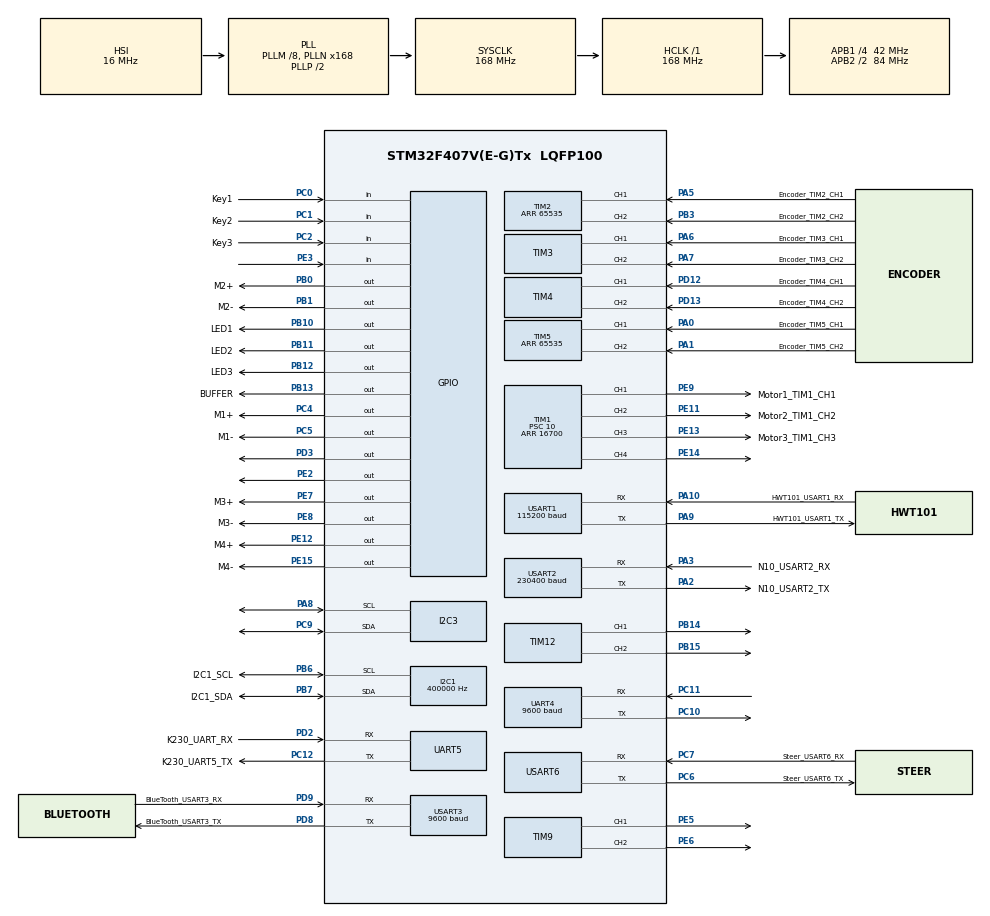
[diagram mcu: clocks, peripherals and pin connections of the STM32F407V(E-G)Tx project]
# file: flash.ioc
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Dma.Request0=USART1_RX
Dma.Request1=UART5_RX
Dma.Request2=UART4_RX
Dma.Request3=USART2_RX
Dma.UART4_RX.2.Direction=DMA_PERIPH_TO_MEMORY
Dma.UART4_RX.2.FIFOMode=DMA_FIFOMODE_DISABLE
Dma.UART4_RX.2.Instance=DMA1_Stream2
Dma.UART4_RX.2.MemDataAlignment=DMA_MDATAALIGN_BYTE
Dma.UART4_RX.2.MemInc=DMA_MINC_ENABLE
Dma.UART4_RX.2.Mode=DMA_CIRCULAR
Dma.UART4_RX.2.PeriphDataAlignment=DMA_PDATAALIGN_BYTE
Dma.UART4_RX.2.PeriphInc=DMA_PINC_DISABLE
Dma.UART4_RX.2.Priority=DMA_PRIORITY_LOW
Dma.UART5_RX.1.Direction=DMA_PERIPH_TO_MEMORY
Dma.UART5_RX.1.FIFOMode=DMA_FIFOMODE_DISABLE
Dma.UART5_RX.1.Instance=DMA1_Stream0
Dma.UART5_RX.1.MemDataAlignment=DMA_MDATAALIGN_BYTE
Dma.UART5_RX.1.MemInc=DMA_MINC_ENABLE
Dma.UART5_RX.1.Mode=DMA_CIRCULAR
Dma.UART5_RX.1.PeriphDataAlignment=DMA_PDATAALIGN_BYTE
Dma.UART5_RX.1.PeriphInc=DMA_PINC_DISABLE
Dma.UART5_RX.1.Priority=DMA_PRIORITY_MEDIUM
Dma.USART1_RX.0.Direction=DMA_PERIPH_TO_MEMORY
Dma.USART1_RX.0.FIFOMode=DMA_FIFOMODE_DISABLE
Dma.USART1_RX.0.Instance=DMA2_Stream2
Dma.USART1_RX.0.MemDataAlignment=DMA_MDATAALIGN_BYTE
Dma.USART1_RX.0.MemInc=DMA_MINC_ENABLE
Dma.USART1_RX.0.Mode=DMA_CIRCULAR
Dma.USART1_RX.0.PeriphDataAlignment=DMA_PDATAALIGN_BYTE
Dma.USART1_RX.0.PeriphInc=DMA_PINC_DISABLE
Dma.USART1_RX.0.Priority=DMA_PRIORITY_MEDIUM
Dma.USART2_RX.3.Direction=DMA_PERIPH_TO_MEMORY
Dma.USART2_RX.3.FIFOMode=DMA_FIFOMODE_DISABLE
Dma.USART2_RX.3.Instance=DMA1_Stream5
Dma.USART2_RX.3.MemDataAlignment=DMA_MDATAALIGN_BYTE
Dma.USART2_RX.3.MemInc=DMA_MINC_ENABLE
Dma.USART2_RX.3.Mode=DMA_CIRCULAR
Dma.USART2_RX.3.PeriphDataAlignment=DMA_PDATAALIGN_BYTE
Dma.USART2_RX.3.PeriphInc=DMA_PINC_DISABLE
Dma.USART2_RX.3.Priority=DMA_PRIORITY_MEDIUM
FREERTOS.Tasks01=defaultTask,24,128,StartDefaultTask,Default,NULL,Dynamic,NULL,NULL;Task1,48,256,InitTask,Default,NULL,Dynamic,NULL,NULL;Task2,41,256,MsgTaskHight,Default,NULL,Dynamic,NULL,NULL;Task3,40,256,MsgTaskLow,Default,NULL,Dynamic,NULL,NULL;Task0,40,256,DispTask,Default,NULL,Dynamic,NULL,NULL;Task4,8,256,CtrlTask,Default,NULL,Dynamic,NULL,NULL;Task5,40,256,ScanTask,Default,NULL,Dynamic,NULL,NULL;Task6,8,128,TestTask,Default,NULL,Dynamic,NULL,NULL
I2C1.ClockSpeed=400000
I2C1.I2C_Mode=I2C_Fast
Mcu.Family=STM32F4
Mcu.Name=STM32F407V(E-G)Tx
Mcu.Package=LQFP100
NVIC.DMA1_Stream0_IRQn=true\:5\:0\:false\:false\:true\:true\:false\:true\:true
NVIC.DMA1_Stream2_IRQn=true\:5\:0\:false\:false\:true\:true\:false\:true\:true
NVIC.DMA1_Stream5_IRQn=true\:5\:0\:false\:false\:true\:true\:false\:true\:true
NVIC.DMA2_Stream2_IRQn=true\:5\:0\:false\:false\:true\:true\:false\:true\:true
NVIC.PriorityGroup=NVIC_PRIORITYGROUP_4
NVIC.TIM6_DAC_IRQn=true\:15\:0\:false\:false\:true\:false\:false\:true\:true
NVIC.TIM8_BRK_TIM12_IRQn=true\:5\:0\:false\:false\:true\:false\:false\:true\:true
NVIC.TimeBase=TIM6_DAC_IRQn
NVIC.TimeBaseIP=TIM6
NVIC.UART4_IRQn=true\:5\:0\:false\:false\:true\:true\:true\:true\:true
NVIC.UART5_IRQn=true\:5\:0\:false\:false\:true\:true\:true\:true\:true
NVIC.USART1_IRQn=true\:5\:0\:false\:false\:true\:true\:true\:true\:true
NVIC.USART2_IRQn=true\:5\:0\:true\:false\:true\:true\:true\:true\:true
NVIC.USART3_IRQn=true\:5\:0\:true\:false\:true\:true\:true\:true\:true
PA0-WKUP.GPIO_Label=Encoder_TIM5_CH1
PA0-WKUP.Signal=S_TIM5_CH1
PA1.GPIO_Label=Encoder_TIM5_CH2
PA1.Signal=S_TIM5_CH2
PA10.GPIO_Label=HWT101_USART1_RX
PA10.Mode=Asynchronous
PA10.Signal=USART1_RX
PA13.Mode=Serial_Wire
PA13.Signal=SYS_JTMS-SWDIO
PA14.Mode=Serial_Wire
PA14.Signal=SYS_JTCK-SWCLK
PA2.GPIO_Label=N10_USART2_TX
PA2.Mode=Asynchronous
PA2.Signal=USART2_TX
PA3.GPIO_Label=N10_USART2_RX
PA3.Mode=Asynchronous
PA3.Signal=USART2_RX
PA5.GPIO_Label=Encoder_TIM2_CH1
PA5.Signal=S_TIM2_CH1_ETR
PA6.GPIO_Label=Encoder_TIM3_CH1
PA6.Signal=S_TIM3_CH1
PA7.GPIO_Label=Encoder_TIM3_CH2
PA7.Signal=S_TIM3_CH2
PA8.Mode=I2C
PA8.Signal=I2C3_SCL
PA9.GPIO_Label=HWT101_USART1_TX
PA9.Mode=Asynchronous
PA9.Signal=USART1_TX
PB0.GPIO_Label=M2+
PB0.GPIO_PuPd=GPIO_PULLDOWN
PB0.Signal=GPIO_Output
PB1.GPIO_Label=M2-
PB1.GPIO_PuPd=GPIO_PULLDOWN
PB1.Signal=GPIO_Output
PB10.GPIO_Label=LED1
PB10.Signal=GPIO_Output
PB11.GPIO_Label=LED2
PB11.Signal=GPIO_Output
PB12.GPIO_Label=LED3
PB12.Signal=GPIO_Output
PB13.GPIO_Label=BUFFER
PB13.Signal=GPIO_Output
PB14.Signal=S_TIM12_CH1
PB15.Signal=S_TIM12_CH2
PB3.GPIO_Label=Encoder_TIM2_CH2
PB3.Signal=S_TIM2_CH2
PB6.GPIO_Label=I2C1_SCL
PB6.Mode=I2C
PB6.Signal=I2C1_SCL
PB7.GPIO_Label=I2C1_SDA
PB7.Mode=I2C
PB7.Signal=I2C1_SDA
PC0.GPIO_Label=Key1
PC0.GPIO_PuPd=GPIO_PULLUP
PC0.Signal=GPIO_Input
PC1.GPIO_Label=Key2
PC1.GPIO_PuPd=GPIO_PULLUP
PC1.Signal=GPIO_Input
PC10.Mode=Asynchronous
PC10.Signal=UART4_TX
PC11.Mode=Asynchronous
PC11.Signal=UART4_RX
PC12.GPIO_Label=K230_UART5_TX
PC12.Mode=Asynchronous
PC12.Signal=UART5_TX
PC2.GPIO_Label=Key3
PC2.GPIO_PuPd=GPIO_PULLUP
PC2.Signal=GPIO_Input
PC4.GPIO_Label=M1+
PC4.GPIO_PuPd=GPIO_PULLDOWN
PC4.Signal=GPIO_Output
PC5.GPIO_Label=M1-
PC5.GPIO_PuPd=GPIO_PULLDOWN
PC5.Signal=GPIO_Output
PC6.GPIO_Label=Steer_USART6_TX
PC6.Mode=Asynchronous
PC6.Signal=USART6_TX
PC7.GPIO_Label=Steer_USART6_RX
PC7.Mode=Asynchronous
PC7.Signal=USART6_RX
PC9.Mode=I2C
PC9.Signal=I2C3_SDA
PD12.GPIO_Label=Encoder_TIM4_CH1
PD12.Signal=S_TIM4_CH1
PD13.GPIO_Label=Encoder_TIM4_CH2
PD13.Signal=S_TIM4_CH2
PD2.GPIO_Label=K230_UART_RX
PD2.Mode=Asynchronous
PD2.Signal=UART5_RX
PD3.Signal=GPIO_Output
PD8.GPIO_Label=BlueTooth_USART3_TX
PD8.Mode=Asynchronous
PD8.Signal=USART3_TX
PD9.GPIO_Label=BlueTooth_USART3_RX
PD9.Mode=Asynchronous
PD9.Signal=USART3_RX
PE11.GPIO_Label=Motor2_TIM1_CH2
PE11.Signal=S_TIM1_CH2
PE12.GPIO_Label=M4+
PE12.Signal=GPIO_Output
PE13.GPIO_Label=Motor3_TIM1_CH3
PE13.Signal=S_TIM1_CH3
PE14.Signal=S_TIM1_CH4
PE15.GPIO_Label=M4-
PE15.Signal=GPIO_Output
PE2.Signal=GPIO_Output
PE3.Signal=GPIO_Input
PE5.Signal=S_TIM9_CH1
PE6.Signal=S_TIM9_CH2
PE7.GPIO_Label=M3+
PE7.Signal=GPIO_Output
PE8.GPIO_Label=M3-
PE8.Signal=GPIO_Output
PE9.GPIO_Label=Motor1_TIM1_CH1
PE9.GPIO_PuPd=GPIO_NOPULL
PE9.GPIO_Speed=GPIO_SPEED_FREQ_LOW
PE9.Signal=S_TIM1_CH1
PH0-OSC_IN.Mode=HSE-External-Oscillator
PH0-OSC_IN.Signal=RCC_OSC_IN
PH1-OSC_OUT.Mode=HSE-External-Oscillator
PH1-OSC_OUT.Signal=RCC_OSC_OUT
ProjectManager.HeapSize=0x400
ProjectManager.StackSize=0x800
ProjectManager.TargetToolchain=MDK-ARM V5.32
RCC.48MHZClocksFreq_Value=84000000
RCC.AHBFreq_Value=168000000
RCC.APB1CLKDivider=RCC_HCLK_DIV4
RCC.APB1Freq_Value=42000000
RCC.APB1TimFreq_Value=84000000
RCC.APB2CLKDivider=RCC_HCLK_DIV2
RCC.APB2Freq_Value=84000000
RCC.APB2TimFreq_Value=168000000
RCC.CortexFreq_Value=168000000
RCC.HCLKFreq_Value=168000000
RCC.HSE_VALUE=25000000
RCC.HSI_VALUE=16000000
RCC.LSE_VALUE=32768
RCC.PLLM=8
RCC.PLLN=168
RCC.SYSCLKFreq_VALUE=168000000
RCC.SYSCLKSource=RCC_SYSCLKSOURCE_PLLCLK
RCC.VCOOutputFreq_Value=336000000
SH.S_TIM12_CH1.0=TIM12_CH1,PWM Generation1 CH1
SH.S_TIM12_CH2.0=TIM12_CH2,PWM Generation2 CH2
SH.S_TIM1_CH1.0=TIM1_CH1,PWM Generation1 CH1
SH.S_TIM1_CH2.0=TIM1_CH2,PWM Generation2 CH2
SH.S_TIM1_CH3.0=TIM1_CH3,PWM Generation3 CH3
SH.S_TIM1_CH4.0=TIM1_CH4,PWM Generation4 CH4
SH.S_TIM2_CH1_ETR.0=TIM2_CH1,Encoder_Interface
SH.S_TIM2_CH2.0=TIM2_CH2,Encoder_Interface
SH.S_TIM3_CH1.0=TIM3_CH1,Encoder_Interface
SH.S_TIM3_CH2.0=TIM3_CH2,Encoder_Interface
SH.S_TIM4_CH1.0=TIM4_CH1,Encoder_Interface
SH.S_TIM4_CH2.0=TIM4_CH2,Encoder_Interface
SH.S_TIM5_CH1.0=TIM5_CH1,Encoder_Interface
SH.S_TIM5_CH2.0=TIM5_CH2,Encoder_Interface
SH.S_TIM9_CH1.0=TIM9_CH1,PWM Generation1 CH1
SH.S_TIM9_CH2.0=TIM9_CH2,PWM Generation2 CH2
TIM1.Channel-PWM\ Generation1\ CH1=TIM_CHANNEL_1
TIM1.Channel-PWM\ Generation2\ CH2=TIM_CHANNEL_2
TIM1.Channel-PWM\ Generation3\ CH3=TIM_CHANNEL_3
TIM1.Channel-PWM\ Generation4\ CH4=TIM_CHANNEL_4
TIM1.Period=16700
TIM1.Prescaler=10
TIM12.Channel-PWM\ Generation1\ CH1=TIM_CHANNEL_1
TIM12.Channel-PWM\ Generation2\ CH2=TIM_CHANNEL_2
TIM2.EncoderMode=TIM_ENCODERMODE_TI12
TIM2.IC1Filter=4
TIM2.Period=65535
TIM3.EncoderMode=TIM_ENCODERMODE_TI12
TIM3.IC1Filter=4
TIM4.EncoderMode=TIM_ENCODERMODE_TI12
TIM4.IC1Filter=4
TIM5.EncoderMode=TIM_ENCODERMODE_TI12
TIM5.IC1Filter=4
TIM5.Period=65535
TIM7.Period=65535
TIM7.Prescaler=168-1
TIM9.Channel-PWM\ Generation1\ CH1=TIM_CHANNEL_1
TIM9.Channel-PWM\ Generation2\ CH2=TIM_CHANNEL_2
UART4.BaudRate=9600
UART4.VirtualMode=Asynchronous
UART5.VirtualMode=Asynchronous
USART1.BaudRate=115200
USART1.VirtualMode=VM_ASYNC
USART2.BaudRate=230400
USART2.VirtualMode=VM_ASYNC
USART3.BaudRate=9600
USART3.VirtualMode=VM_ASYNC
USART6.VirtualMode=VM_ASYNC
VP_FREERTOS_VS_CMSIS_V2.Mode=CMSIS_V2
VP_SYS_VS_tim6.Mode=TIM6
VP_TIM1_VS_ClockSourceINT.Mode=Internal
VP_TIM7_VS_ClockSourceINT.Mode=Enable_Timer
VP_TIM8_VS_ClockSourceINT.Mode=Internal
VP_TIM9_VS_ClockSourceINT.Mode=Internal
board=custom

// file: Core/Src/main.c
/* USER CODE BEGIN Header */
/**
  ******************************************************************************
  * @file           : main.c
  * @brief          : Main program body
  ******************************************************************************
  * @attention
  *
  * Copyright (c) 2025 STMicroelectronics.
  * All rights reserved.
  *
  * This software is licensed under terms that can be found in the LICENSE file
  * in the root directory of this software component.
  * If no LICENSE file comes with this software, it is provided AS-IS.
  *
  ******************************************************************************
  */
/* USER CODE END Header */
#include "main.h"
#include "cmsis_os.h"
#include "dma.h"
#include "i2c.h"
#include "tim.h"
#include "usart.h"
#include "gpio.h"

/* USER CODE BEGIN Includes */
#include "MySys.h"
extern MyUartGroup uartGroup;
/* USER CODE END Includes */

void SystemClock_Config(void);
void MX_FREERTOS_Init(void);

int main(void)
{

  /* MCU Configuration--------------------------------------------------------*/

  /* Reset of all peripherals, Initializes the Flash interface and the Systick. */
  HAL_Init();

  /* Configure the system clock */
  SystemClock_Config();

  /* Initialize all configured peripherals */
  MX_GPIO_Init();
  MX_DMA_Init();
  MX_I2C1_Init();
  MX_TIM1_Init();
  MX_TIM2_Init();
  MX_TIM3_Init();
  MX_TIM4_Init();
  MX_TIM5_Init();
  MX_TIM8_Init();
  MX_UART5_Init();
  MX_USART1_UART_Init();
  MX_USART2_UART_Init();
  MX_USART3_UART_Init();
  MX_USART6_UART_Init();
  MX_TIM7_Init();
  MX_I2C3_Init();
  MX_TIM12_Init();
  MX_TIM9_Init();
  MX_UART4_Init();

  /* Init scheduler */
  osKernelInitialize();

  /* Call init function for freertos objects (in cmsis_os2.c) */
  MX_FREERTOS_Init();

  /* Start scheduler */
  osKernelStart();

  /* We should never get here as control is now taken by the scheduler */

  /* Infinite loop */
  while (1)
  {

  }
}

void SystemClock_Config(void)
{
  RCC_OscInitTypeDef RCC_OscInitStruct = {0};
  RCC_ClkInitTypeDef RCC_ClkInitStruct = {0};

  /** Configure the main internal regulator output voltage
  */
  __HAL_RCC_PWR_CLK_ENABLE();
  __HAL_PWR_VOLTAGESCALING_CONFIG(PWR_REGULATOR_VOLTAGE_SCALE1);

  /** Initializes the RCC Oscillators according to the specified parameters
  * in the RCC_OscInitTypeDef structure.
  */
  RCC_OscInitStruct.OscillatorType = RCC_OSCILLATORTYPE_HSI;
  RCC_OscInitStruct.HSIState = RCC_HSI_ON;
  RCC_OscInitStruct.HSICalibrationValue = RCC_HSICALIBRATION_DEFAULT;
  RCC_OscInitStruct.PLL.PLLState = RCC_PLL_ON;
  RCC_OscInitStruct.PLL.PLLSource = RCC_PLLSOURCE_HSI;
  RCC_OscInitStruct.PLL.PLLM = 8;
  RCC_OscInitStruct.PLL.PLLN = 168;
  RCC_OscInitStruct.PLL.PLLP = RCC_PLLP_DIV2;
  RCC_OscInitStruct.PLL.PLLQ = 4;
  if (HAL_RCC_OscConfig(&RCC_OscInitStruct) != HAL_OK)
  {
    Error_Handler();
  }

  /** Initializes the CPU, AHB and APB buses clocks
  */
  RCC_ClkInitStruct.ClockType = RCC_CLOCKTYPE_HCLK|RCC_CLOCKTYPE_SYSCLK
                              |RCC_CLOCKTYPE_PCLK1|RCC_CLOCKTYPE_PCLK2;
  RCC_ClkInitStruct.SYSCLKSource = RCC_SYSCLKSOURCE_PLLCLK;
  RCC_ClkInitStruct.AHBCLKDivider = RCC_SYSCLK_DIV1;
  RCC_ClkInitStruct.APB1CLKDivider = RCC_HCLK_DIV4;
  RCC_ClkInitStruct.APB2CLKDivider = RCC_HCLK_DIV2;

  if (HAL_RCC_ClockConfig(&RCC_ClkInitStruct, FLASH_LATENCY_5) != HAL_OK)
  {
    Error_Handler();
  }
}

/* USER CODE BEGIN 4 */
// void HAL_UARTEx_RxEventCallback(UART_HandleTypeDef *huart, uint16_t Size)
// {

// }
void HAL_UART_RxCpltCallback(UART_HandleTypeDef *huart)//中断回调函数
{
    if(huart == &huart3)
    {
        HAL_UART_Receive_IT(&huart3, &uartGroup.blue.data, 1);
    }
}
int fputc(int c,FILE *f)//串口重定�??
{
    HAL_UART_Transmit(&huart6,(uint8_t *)&c,1,1000);
    return c;
}
/* USER CODE END 4 */

void HAL_TIM_PeriodElapsedCallback(TIM_HandleTypeDef *htim)
{
  if (htim->Instance == TIM6) {
    HAL_IncTick();
  }
}

void Error_Handler(void)
{
  __disable_irq();
  while (1)
  {
  }
}

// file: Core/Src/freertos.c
/* USER CODE BEGIN Header */
/**
  ******************************************************************************
  * File Name          : freertos.c
  * Description        : Code for freertos applications
  ******************************************************************************
  * @attention
  *
  * Copyright (c) 2025 STMicroelectronics.
  * All rights reserved.
  *
  * This software is licensed under terms that can be found in the LICENSE file
  * in the root directory of this software component.
  * If no LICENSE file comes with this software, it is provided AS-IS.
  *
  ******************************************************************************
  */
/* USER CODE END Header */

#include "FreeRTOS.h"
#include "task.h"
#include "main.h"
#include "cmsis_os.h"

/* USER CODE BEGIN Includes */
#include "MySys.h"
#include "dma.h"
#include "i2c.h"
#include "tim.h"
#include "usart.h"
#include "gpio.h"
/* USER CODE END Includes */

/* USER CODE BEGIN PD */
#define HITMODE 1 //1��ģʽ 0С��ģʽ
extern Key Key1,Key2,Key3,Key_GW;//按键结构�????????????????
extern Motor MOTOR_A,MOTOR_B,MOTOR_C,MOTOR_D;//电机速度控制相关变量
extern MyUartGroup uartGroup;//UART组结构体
extern Encoder OriginalEncoder;//编码器结构体
extern DisStp STP;
extern coordinate aim;
extern int L1scan;
extern int oil;
extern int Lost;
int smoothflag=0;
/* USER CODE END PD */

/* Definitions for defaultTask */
osThreadId_t defaultTaskHandle;
const osThreadAttr_t defaultTask_attributes = {
  .name = "defaultTask",
  .stack_size = 128 * 4,
  .priority = (osPriority_t) osPriorityNormal,
};
/* Definitions for Task1 */
osThreadId_t Task1Handle;
const osThreadAttr_t Task1_attributes = {
  .name = "Task1",
  .stack_size = 256 * 4,
  .priority = (osPriority_t) osPriorityRealtime,
};
/* Definitions for Task2 */
osThreadId_t Task2Handle;
const osThreadAttr_t Task2_attributes = {
  .name = "Task2",
  .stack_size = 256 * 4,
  .priority = (osPriority_t) osPriorityHigh1,
};
/* Definitions for Task3 */
osThreadId_t Task3Handle;
const osThreadAttr_t Task3_attributes = {
  .name = "Task3",
  .stack_size = 256 * 4,
  .priority = (osPriority_t) osPriorityHigh,
};
/* Definitions for Task0 */
osThreadId_t Task0Handle;
const osThreadAttr_t Task0_attributes = {
  .name = "Task0",
  .stack_size = 256 * 4,
  .priority = (osPriority_t) osPriorityHigh,
};
/* Definitions for Task4 */
osThreadId_t Task4Handle;
const osThreadAttr_t Task4_attributes = {
  .name = "Task4",
  .stack_size = 256 * 4,
  .priority = (osPriority_t) osPriorityLow,
};
/* Definitions for Task5 */
osThreadId_t Task5Handle;
const osThreadAttr_t Task5_attributes = {
  .name = "Task5",
  .stack_size = 256 * 4,
  .priority = (osPriority_t) osPriorityHigh,
};
/* Definitions for Task6 */
osThreadId_t Task6Handle;
const osThreadAttr_t Task6_attributes = {
  .name = "Task6",
  .stack_size = 128 * 4,
  .priority = (osPriority_t) osPriorityLow,
};

void StartDefaultTask(void *argument);
void InitTask(void *argument);
void MsgTaskHight(void *argument);
void MsgTaskLow(void *argument);
void DispTask(void *argument);
void CtrlTask(void *argument);
void ScanTask(void *argument);
void TestTask(void *argument);

void MX_FREERTOS_Init(void); /* (MISRA C 2004 rule 8.1) */

void MX_FREERTOS_Init(void) {

  /* Create the thread(s) */
  /* creation of defaultTask */
  defaultTaskHandle = osThreadNew(StartDefaultTask, NULL, &defaultTask_attributes);

  /* creation of Task1 */
  Task1Handle = osThreadNew(InitTask, NULL, &Task1_attributes);

  /* creation of Task2 */
  Task2Handle = osThreadNew(MsgTaskHight, NULL, &Task2_attributes);

  /* creation of Task3 */
  Task3Handle = osThreadNew(MsgTaskLow, NULL, &Task3_attributes);

  /* creation of Task0 */
  Task0Handle = osThreadNew(DispTask, NULL, &Task0_attributes);

  /* creation of Task4 */
  Task4Handle = osThreadNew(CtrlTask, NULL, &Task4_attributes);

  /* creation of Task5 */
  Task5Handle = osThreadNew(ScanTask, NULL, &Task5_attributes);

  /* creation of Task6 */
  Task6Handle = osThreadNew(TestTask, NULL, &Task6_attributes);

}

void StartDefaultTask(void *argument)
{
  /* USER CODE BEGIN StartDefaultTask */
  /* Infinite loop */
  for(;;)
  {
    osDelay(10);
  }
  /* USER CODE END StartDefaultTask */
}

void InitTask(void *argument)
{
  /* USER CODE BEGIN InitTask */
//----------------初始化任务，执行后删�???????----------------
  // 启动PWM输出
  HAL_TIM_PWM_Start(&htim1, TIM_CHANNEL_1);
  HAL_TIM_PWM_Start(&htim1, TIM_CHANNEL_2);
  HAL_TIM_PWM_Start(&htim1, TIM_CHANNEL_3);
  HAL_TIM_PWM_Start(&htim1, TIM_CHANNEL_4);
  // 启动霍尔编码�???
  HAL_TIM_Encoder_Start(&htim2, TIM_CHANNEL_1);
  HAL_TIM_Encoder_Start(&htim2, TIM_CHANNEL_2);
  HAL_TIM_Encoder_Start(&htim3, TIM_CHANNEL_1);
  HAL_TIM_Encoder_Start(&htim3, TIM_CHANNEL_2);
  HAL_TIM_Encoder_Start(&htim4, TIM_CHANNEL_1);
  HAL_TIM_Encoder_Start(&htim4, TIM_CHANNEL_2);
  HAL_TIM_Encoder_Start(&htim5, TIM_CHANNEL_1);
  HAL_TIM_Encoder_Start(&htim5, TIM_CHANNEL_2);
  // OLED初始�???
  OLED_Init();
  // 串口组初始化
  MyUartGroup_Init(&uartGroup);
  // 编码器结构体初始�???
  MyEncoder_Init(&OriginalEncoder);
  // 电机参数初始�???
  MyMotor_Init(&MOTOR_A);
  MyMotor_Init(&MOTOR_B);
  MyMotor_Init(&MOTOR_C);
  MyMotor_Init(&MOTOR_D);
  // 舵机参数初始�???
  // MySteer_Init();
  //PID参数初始�???
  MyPid_Init();
  // 使能串口中断
  HAL_NVIC_EnableIRQ(USART1_IRQn);
  HAL_NVIC_EnableIRQ(USART3_IRQn);
  HAL_NVIC_EnableIRQ(UART4_IRQn);
  HAL_NVIC_EnableIRQ(UART5_IRQn);
  // 启动串口3中断接收
  HAL_UART_Receive_IT(&huart3, &uartGroup.blue.data, 1);
  // 启动DMA接收
  HAL_UART_Receive_DMA(&huart1, uartGroup.imu.Receive_data, uartGroup.imu.len);
  if(UART2MODE==0)
  HAL_UART_Receive_DMA(&huart2, uartGroup.scan.Receive_data, uartGroup.scan.len);
  else if(UART2MODE==1)
  HAL_UART_Receive_DMA(&huart2, uartGroup.STP.Receive_data, uartGroup.STP.len);
  if(UART5MODE==0)
  HAL_UART_Receive_DMA(&huart5, uartGroup.camera.Receive_data, uartGroup.camera.len);
  else if(UART5MODE==1)
  HAL_UART_Receive_DMA(&huart5, uartGroup.FOC.Receive_data, uartGroup.FOC.len);
  if(UART4MODE==1)
    HAL_UART_Receive_DMA(&huart4, uartGroup.DL20.Receive_data, uartGroup.DL20.buff);
  else if(UART4MODE==0)
    HAL_UART_Receive_DMA(&huart4, uartGroup.steerimu.Receive_data, uartGroup.steerimu.len);
  // 使能串口1和串�???5的空闲中�???
  __HAL_UART_ENABLE_IT(&huart1, UART_IT_IDLE);
  __HAL_UART_ENABLE_IT(&huart4, UART_IT_IDLE);
  __HAL_UART_ENABLE_IT(&huart5, UART_IT_IDLE);
  __HAL_UART_ENABLE_IT(&huart2, UART_IT_IDLE);
  // �???有初始化完成，删除本任务
  Buffer(0);
  Led(2,0);
  for(register long slow=0;slow<21474836;slow++);//缓启动，确保电压稳定
  Buffer(0);
  Led(2,0);
  vTaskDelete(NULL);
  /* USER CODE END InitTask */
}

void MsgTaskHight(void *argument)
{
  /* USER CODE BEGIN MsgTaskHight */
  /* Infinite loop */
  for(;;)
  {
    ImuPrc();
    FocPrc();
    // CameraPrc();
    osDelay(1);
  }
  /* USER CODE END MsgTaskHight */
}

void MsgTaskLow(void *argument)
{
  /* USER CODE BEGIN MsgTaskLow */
  /* Infinite loop */
  for(;;)
  {
    KeyPrc();
    BluePrc();
    // GreyPrc();
    EncoderPrc();
    // PS2Prc();
    osDelay(30);
  }
  /* USER CODE END MsgTaskLow */
}

void DispTask(void *argument)
{
  /* USER CODE BEGIN DispTask */
  /* Infinite loop */
  for(;;)
  {
    LedPrc();
    OledPrc();
    osDelay(10);
  }
  /* USER CODE END DispTask */
}

void CtrlTask(void *argument)
{
  /* USER CODE BEGIN CtrlTask */
  /* Infinite loop */
  for(;;)
  {
    PidPrc();
    MotorCtrl();
    // SteerCtrl();
    osDelay(20);
  }
  /* USER CODE END CtrlTask */
}

void ScanTask(void *argument)
{
  /* USER CODE BEGIN ScanTask */
  /* Infinite loop */
  for(;;)
  {
    // ScanPrc();
    StpPrc();
    osDelay(1);
  }
  /* USER CODE END ScanTask */
}

void TestTask(void *argument)
{
  /* USER CODE BEGIN TestTask */
  const int TIMERR = 200;
  const int effhittime = 450;
  static int hiterr = 60;
  static int time_ms=0;
  static int time_ms2=0;
  static int Task=1;
  /* Infinite loop */
  for(;;)
  {
    if(Task==1)
    {
      time_ms+=10;
      if(time_ms<300)
      {
        oil = 500;
      }
      else
      {
		smoothflag=1;
        oil = 0;
        time_ms=0;
        Task++;
      }
    }
    if(Task==2)
    {
      if(STP.Value<2000&&STP.Value>100)
        time_ms+=10;
      else if(STP.Value>2000)
        {
        oil=200;
        time_ms=0;
        }
      if(time_ms>TIMERR){
        Task++;
        time_ms=0;
      }
    }
    if(Task==3)
    {
      oil=0;
      time_ms+=10;
      if(time_ms>500){
        Task++;
        time_ms=0;
      }
    }
    if(Task==4)
    {
      oil = -15;
      time_ms+=10;
      if(time_ms>500){
        Task++;
        time_ms=0;
      }
    }
    if(Task==5)
    {
      oil = 15;
      time_ms+=10;
      if(time_ms>500){
        Task--;
        time_ms=0;
      }
    }
    if(Task==6)
    {
      oil=0;
      Buffer(1);
      Led(3,1);
    }
	//�ж���Ч���
	if( (aim.x<320+hiterr)&
		(aim.x>320-hiterr)&
		(L1scan!=0)&
		(Lost!=1))
	{
	time_ms2+=10;
	}
	else time_ms2=0;
	//�����Ч
	if(time_ms2>effhittime){
		Buffer(1);
		HAL_GPIO_WritePin(GPIOD, GPIO_PIN_3, GPIO_PIN_SET);
	}
	else {
		Buffer(0);
		HAL_GPIO_WritePin(GPIOD, GPIO_PIN_3, GPIO_PIN_RESET);
	}
	//���ݾ�����������Ч��Χ
	if(HITMODE==1){
	if(L1scan<3000)hiterr=50;
	if(L1scan<2000)hiterr=70;
	if(L1scan<1000)hiterr=130;
	if(L1scan<500)hiterr=240;
	}
	if(HITMODE==0){
	if(L1scan<3000)hiterr=30;
	if(L1scan<2000)hiterr=50;
	if(L1scan<1000)hiterr=100;
	if(L1scan<500)hiterr=230;
	}
    osDelay(10);
  }
  /* USER CODE END TestTask */
}
